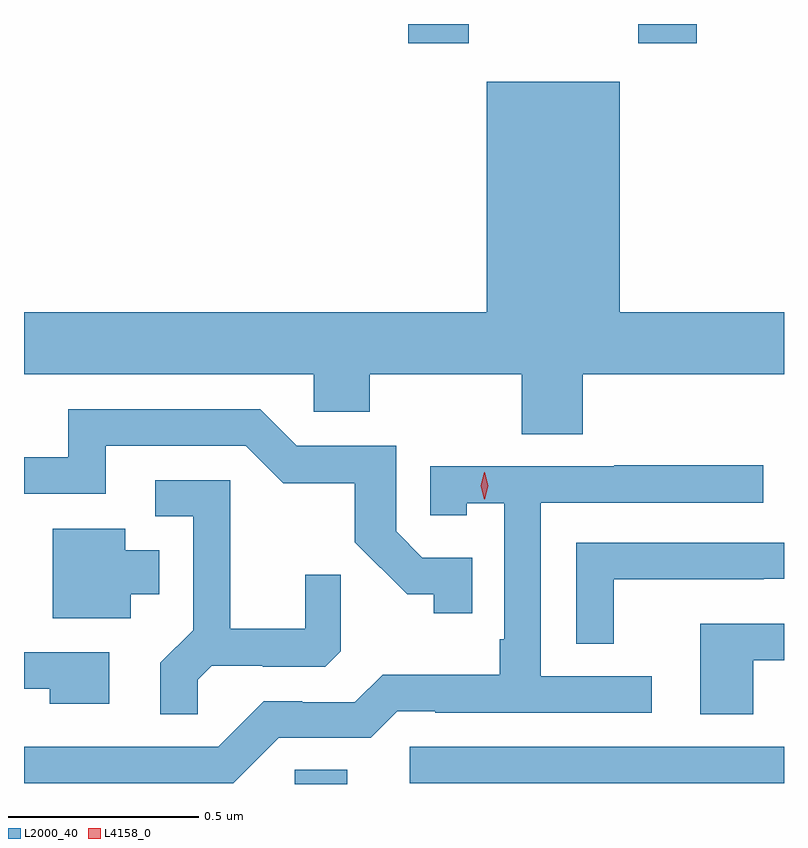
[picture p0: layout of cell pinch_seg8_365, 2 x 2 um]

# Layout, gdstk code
import gdstk
lib = gdstk.Library(unit=1e-6, precision=1e-09)
def R(c, l, rs):  # rectangles x0, y0, x1, y1
    for r in rs: c.add(gdstk.rectangle(r[:2], r[2:], *l))
def P(c, l, *ps):  # polygons
    for p in ps: c.add(gdstk.Polygon(p, *l))
L2000_40 = (2000, 40)
L4158_0 = (4158, 0)

pinch_seg8_365 = lib.new_cell('pinch_seg8_365')
R(pinch_seg8_365, L2000_40, [(367.308,1159.378,367.447,1159.415), (367.611,1159.38,368.596,1159.476), (367.607,1161.327,367.767,1161.378), (368.212,1161.327,368.367,1161.378)])
P(pinch_seg8_365, L2000_40, [(368.066,1160.456),(368.596,1160.456),(368.596,1160.62),(368.164,1160.62),(368.164,1161.226),(367.814,1161.226),(367.814,1160.62),(366.596,1160.62),(366.596,1160.456),(367.359,1160.456),(367.359,1160.358),(367.506,1160.358),(367.506,1160.456),(367.906,1160.456),(367.906,1160.299),(368.066,1160.299)],
  [(367.775,1159.974),(367.644,1159.974),(367.575,1160.043),(367.575,1160.268),(367.314,1160.268),(367.218,1160.364),(366.713,1160.364),(366.713,1160.238),(366.596,1160.238),(366.596,1160.142),(366.811,1160.142),(366.811,1160.268),(367.179,1160.268),(367.278,1160.17),(367.467,1160.17),(367.467,1160.014),(367.604,1159.877),(367.674,1159.877),(367.674,1159.827),(367.775,1159.827)],
  [(367.266,1159.5),(367.509,1159.5),(367.578,1159.569),(367.678,1159.569),(367.678,1159.566),(368.248,1159.566),(368.248,1159.662),(367.956,1159.662),(367.956,1160.118),(368.542,1160.118),(368.542,1160.217),(368.149,1160.217),(368.149,1160.214),(367.665,1160.214),(367.665,1160.085),(367.761,1160.085),(367.761,1160.117),(367.86,1160.117),(367.86,1159.759),(367.848,1159.759),(367.848,1159.666),(367.54,1159.666),(367.467,1159.593),(367.328,1159.593),(367.328,1159.596),(367.227,1159.596),(367.107,1159.476),(366.596,1159.476),(366.596,1159.38),(367.146,1159.38)],
  [(367.053,1159.652),(367.09,1159.689),(367.224,1159.689),(367.224,1159.686),(367.389,1159.686),(367.43,1159.727),(367.43,1159.929),(367.336,1159.929),(367.336,1159.786),(367.139,1159.786),(367.139,1160.178),(366.942,1160.178),(366.942,1160.082),(367.041,1160.082),(367.041,1159.783),(366.955,1159.697),(366.955,1159.561),(367.053,1159.561)],
  [(366.877,1159.877),(366.952,1159.877),(366.952,1159.993),(366.862,1159.993),(366.862,1160.05),(366.671,1160.05),(366.671,1159.814),(366.877,1159.814)],
  [(368.148,1159.917),(368.543,1159.917),(368.543,1159.918),(368.596,1159.918),(368.596,1160.013),(368.049,1160.013),(368.049,1159.747),(368.148,1159.747)],
  [(368.515,1159.704),(368.596,1159.704),(368.596,1159.8),(368.375,1159.8),(368.375,1159.561),(368.515,1159.561)],
  [(366.82,1159.725),(366.596,1159.725),(366.596,1159.629),(366.664,1159.629),(366.664,1159.589),(366.82,1159.589)])
P(pinch_seg8_365, L4158_0, [(367.807,1160.127),(367.798,1160.163),(367.807,1160.198),(367.808,1160.199),(367.808,1160.198),(367.818,1160.163),(367.808,1160.127),(367.808,1160.127)])

lib.write_gds('pinch_seg8_365.gds')
